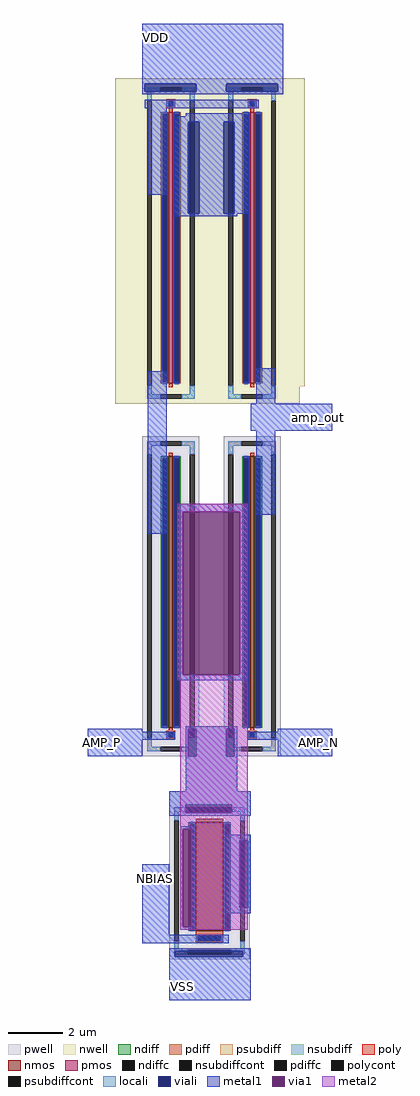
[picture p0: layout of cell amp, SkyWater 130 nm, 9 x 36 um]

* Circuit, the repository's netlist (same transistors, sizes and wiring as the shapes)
** sch_path: /home/ttuser/tt_analog_z2a_2/xschem/amp.sch
.subckt amp VDD VSS AMP_OUT AMP_P AMP_N NBIAS
*.PININFO AMP_P:I AMP_N:I AMP_OUT:O NBIAS:I VDD:B VSS:B
XM3 VFOLD VFOLD VDD VDD sky130_fd_pr__pfet_01v8 L=0.15 W=10 nf=1 m=1
XM4 AMP_OUT AMP_N VTAIL VSS sky130_fd_pr__nfet_01v8 L=0.15 W=10 nf=1 m=1
XM1 AMP_OUT VFOLD VDD VDD sky130_fd_pr__pfet_01v8 L=0.15 W=10 nf=1 m=1
XM5 VFOLD AMP_P VTAIL VSS sky130_fd_pr__nfet_01v8 L=0.15 W=10 nf=1 m=1
XM2 VTAIL NBIAS VSS VSS sky130_fd_pr__nfet_01v8 L=1 W=4 nf=1 m=1
.ends
.end

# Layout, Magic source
magic
tech sky130A
magscale 1 2
<< nwell >>
rect 1000 1926 2400 4200
rect 1000 1800 2362 1926
<< pwell >>
rect 1520 -1060 1900 -580
rect 1400 -1240 2000 -1060
<< viali >>
rect 1220 4100 1600 4160
rect 1820 4100 2200 4160
rect 1540 3200 1620 3880
rect 1800 3200 1880 3880
rect 1540 -800 1600 -600
rect 1820 -800 1880 -600
rect 1520 -1220 1860 -1160
rect 1920 -1920 1980 -1420
rect 1440 -2280 1940 -2240
<< metal1 >>
rect 1200 4160 2240 4600
rect 1200 4100 1220 4160
rect 1600 4100 1820 4160
rect 2200 4100 2240 4160
rect 1200 4080 2240 4100
rect 1220 3980 2060 4040
rect 1240 3340 1380 3980
rect 1520 3920 1980 3940
rect 1440 3880 1980 3920
rect 1440 3200 1540 3880
rect 1620 3200 1800 3880
rect 1880 3200 1980 3880
rect 1440 3180 1900 3200
rect 1240 840 1380 2040
rect 2040 1800 2180 2060
rect 2000 1600 2600 1800
rect 1460 1000 1980 1060
rect 1460 -200 1500 1000
rect 1920 -200 1980 1000
rect 2040 980 2180 1600
rect 1460 -240 1980 -200
rect 1520 -600 1900 -580
rect 800 -620 1200 -600
rect 800 -680 1440 -620
rect 800 -800 1200 -680
rect 1520 -800 1540 -600
rect 1600 -800 1820 -600
rect 1880 -800 1900 -600
rect 2200 -620 2600 -600
rect 1980 -680 2600 -620
rect 2200 -800 2600 -680
rect 1520 -1060 1900 -800
rect 1400 -1160 2000 -1060
rect 1400 -1220 1520 -1160
rect 1860 -1220 2000 -1160
rect 1400 -1240 2000 -1220
rect 1480 -1340 1580 -1320
rect 1200 -2120 1400 -1600
rect 1480 -2060 1500 -1340
rect 1560 -2060 1580 -1340
rect 1820 -1420 2000 -1380
rect 1820 -1920 1920 -1420
rect 1980 -1920 2000 -1420
rect 1820 -1960 2000 -1920
rect 1480 -2080 1580 -2060
rect 1200 -2180 1840 -2120
rect 1400 -2240 2000 -2220
rect 1400 -2280 1440 -2240
rect 1940 -2280 2000 -2240
rect 1400 -2600 2000 -2280
<< via1 >>
rect 1500 -200 1920 1000
rect 1500 -2060 1560 -1340
<< metal2 >>
rect 1460 1000 1980 1060
rect 1460 -200 1500 1000
rect 1920 -200 1980 1000
rect 1460 -240 1980 -200
rect 1480 -1340 1980 -240
rect 1480 -2060 1500 -1340
rect 1560 -2060 1980 -1340
rect 1480 -2080 1980 -2060
use sky130_fd_pr__nfet_01v8_A5WNKR  sky130_fd_pr__nfet_01v8_A5WNKR_0
transform 1 0 2011 0 1 379
box -211 -1179 211 1179
use sky130_fd_pr__pfet_01v8_MGA8MK  sky130_fd_pr__pfet_01v8_MGA8MK_0
transform 1 0 1411 0 1 2984
box -211 -1184 211 1184
use sky130_fd_pr__pfet_01v8_MGA8MK  XM1
transform 1 0 2011 0 1 2984
box -211 -1184 211 1184
use sky130_fd_pr__nfet_01v8_5ZS3RT  XM2
transform 1 0 1696 0 1 -1721
box -296 -579 296 579
use sky130_fd_pr__nfet_01v8_A5WNKR  XM5
transform 1 0 1411 0 1 379
box -211 -1179 211 1179
<< labels >>
flabel metal1 1400 -2600 1600 -2400 0 FreeSans 256 0 0 0 VSS
port 1 nsew
flabel metal1 1200 -1800 1400 -1600 0 FreeSans 256 0 0 0 NBIAS
port 5 nsew
flabel metal1 1200 4400 1400 4600 0 FreeSans 256 0 0 0 VDD
port 0 nsew
flabel metal1 800 -800 1000 -600 0 FreeSans 256 0 0 0 AMP_P
port 3 nsew
flabel metal1 2400 -800 2600 -600 0 FreeSans 256 0 0 0 AMP_N
port 4 nsew
rlabel metal1 2400 1600 2600 1800 1 amp_out
port 6 n default output
<< end >>

# cell sky130_fd_pr__nfet_01v8_A5WNKR: kit device sky130_fd_pr__nfet_01v8, w 10.0 l 0.15 m 1 nf 1 diffcov 100 polycov 100 guard 1 glc 1 grc 1 gtc 1 gbc 1 tbcov 100 rlcov 100 topc 0 botc 1 poverlap 0 doverlap 1 lmin 0.15 wmin 0.42 compatible {sky130_fd_pr__nfet_01v8 sky130_fd_pr__nfet_01v8_lvt sky130_fd_bs_flash__special_sonosfet_star sky130_fd_pr__nfet_g5v0d10v5 sky130_fd_pr__nfet_05v0_nvt sky130_fd_pr__nfet_03v3_nvt} full_metal 1 viasrc 100 viadrn 100 viagate 100 viagb 0 viagr 0 viagl 0 viagt 0

# cell sky130_fd_pr__pfet_01v8_MGA8MK: kit device sky130_fd_pr__pfet_01v8, w 10.0 l 0.15 m 1 nf 1 diffcov 100 polycov 100 guard 1 glc 1 grc 1 gtc 1 gbc 1 tbcov 100 rlcov 100 topc 1 botc 0 poverlap 0 doverlap 1 lmin 0.15 wmin 0.42 compatible {sky130_fd_pr__pfet_01v8 sky130_fd_pr__pfet_01v8_lvt sky130_fd_pr__pfet_01v8_hvt sky130_fd_pr__pfet_g5v0d10v5} full_metal 1 viasrc 100 viadrn 100 viagate 100 viagb 0 viagr 0 viagl 0 viagt 0

# cell sky130_fd_pr__nfet_01v8_5ZS3RT: kit device sky130_fd_pr__nfet_01v8, w 4.0 l 1.0 m 1 nf 1 diffcov 100 polycov 100 guard 1 glc 1 grc 1 gtc 1 gbc 1 tbcov 100 rlcov 100 topc 0 botc 1 poverlap 0 doverlap 1 lmin 0.15 wmin 0.42 compatible {sky130_fd_pr__nfet_01v8 sky130_fd_pr__nfet_01v8_lvt sky130_fd_bs_flash__special_sonosfet_star sky130_fd_pr__nfet_g5v0d10v5 sky130_fd_pr__nfet_05v0_nvt sky130_fd_pr__nfet_03v3_nvt} full_metal 1 viasrc 100 viadrn 100 viagate 100 viagb 0 viagr 0 viagl 0 viagt 0
